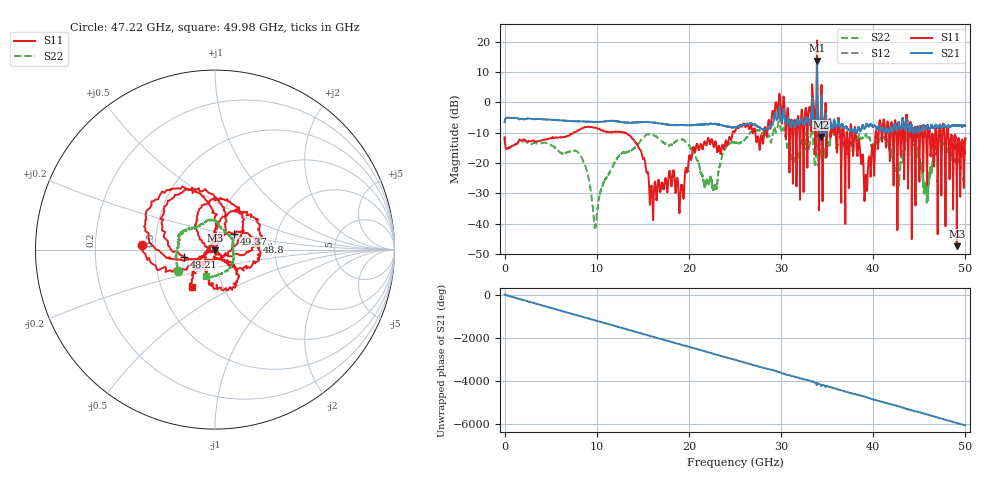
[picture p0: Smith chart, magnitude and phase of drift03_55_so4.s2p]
!Created with skrf (http://scikit-rf.org).
# Hz S RI R 50.0
!freq ReS11 ImS11 ReS21 ImS21 ReS12 ImS12 ReS22 ImS22
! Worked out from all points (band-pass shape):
!   10001 points, 300 kHz to 50 GHz, reference 50 ohm
!   highest |S21| = 13.81 dB at 33.9 GHz (marker M1); lowest = -11.4 dB at 34.32 GHz (marker M2)
!   |S21| within 3 dB of the highest: 33.89068 GHz to 33.90371 GHz (13.03 MHz wide, 0.0385 % of centre)
!   lowest |S11| = -47.5 dB at 49.07 GHz (marker M3), VSWR 1.01, Z = 50 - j0.422 ohm
!   |S11| at or under -10 dB: start of sweep to 7.488 GHz; 13.13 GHz to 24.74 GHz (11.61 GHz wide, 61.3 % of centre); 38.09 GHz to 40.26 GHz (2.165 GHz wide, 5.53 % of centre) (the widest 3 of 48)
!   |S22| runs from -41.5 to 6.2 dB; largest |S21 - S12| = 0.37
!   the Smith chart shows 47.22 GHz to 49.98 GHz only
!   S11 on the Smith chart (normalised r, x): 47.22 GHz: 0.42, +0.03; 48.21 GHz: 0.71, -0.06; 48.8 GHz: 1.61, +0.15; 49.37 GHz: 1.22, +0.22; 49.98 GHz: 0.71, -0.32
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300000  -0.2365 -0.122  0.4673 0.0805  0.4653 0.0805  -0.2337 -0.1282
1.440291e9  0.2098 0.0646  -0.5479 -0.0296  -0.5481 -0.0294  0.2115 -0.00394
2.915283e9  -0.2118 -0.0877  0.534 0.0513  0.5347 0.0519  -0.202 0.0399
4.415274e9  0.2059 0.1326  -0.5218 -0.0424  -0.5219 -0.0423  0.1985 -0.0871
8.33525e9  0.2885 -0.2336  0.1462 0.4663  0.1462 0.4662  -0.0724 -0.1016
9.845241e9  -0.3637 0.1289  -0.148 -0.4525  -0.1484 -0.4523  0.00844 0.00193
1.66702e10  0.0273 0.0437  -0.3786 0.2529  -0.3785 0.2534  -0.1278 -0.2198
2.500015e10  -0.3263 -0.0153  -0.2547 -0.297  -0.2535 -0.299  -0.2132 0.0274
2.895513e10  -0.3247 0.4331  -0.2878 0.3262  -0.2982 0.2907  0.0665 0.222
3.006512e10  0.3975 0.2652  0.4495 -0.1965  0.4537 -0.1832  0.1761 -0.2976
3.171011e10  -0.0928 0.1884  -0.3605 0.3576  -0.3618 0.3528  0.0649 0.1595
3.33351e10  0.6285 -0.8067  0.2555 -0.8419  0.2549 -0.8233  -0.1886 -0.4207
3.38951e10  -2.591 -10.25  -4.826 0.8588  -4.521 1.061  0.5397 1.979
3.432009e10  -0.7765 -0.000472  -0.1818 0.1983  -0.2435 0.1786  0.1436 -0.0725
4.167005e10  -0.2026 0.3023  0.3162 0.00264  0.3164 0.00937  -0.1897 -0.00654
4.722002e10  -0.4049 0.0254  0.288 0.3159  0.2874 0.3134  -0.2037 -0.1215
4.821001e10  -0.171 -0.0406  0.1383 -0.3882  0.1373 -0.39  -0.0228 0.16
4.879501e10  0.2364 0.0426  -0.3368 -0.2362  -0.3383 -0.2352  0.0964 0.0575
4.907001e10  0.000325 -0.00422  -0.4199 -0.0202  -0.4222 -0.0238  0.0986 0.012
4.9365e10  0.1083 0.0888  -0.3502 0.2198  -0.3495 0.2218  0.1007 -0.0575
4.998e10  -0.1283 -0.209  0.1188 0.3925  0.1228 0.3937  -0.0519 -0.149
5e10  -0.1222 -0.2263  0.141 0.3858  0.1406 0.384  -0.053 -0.1437
